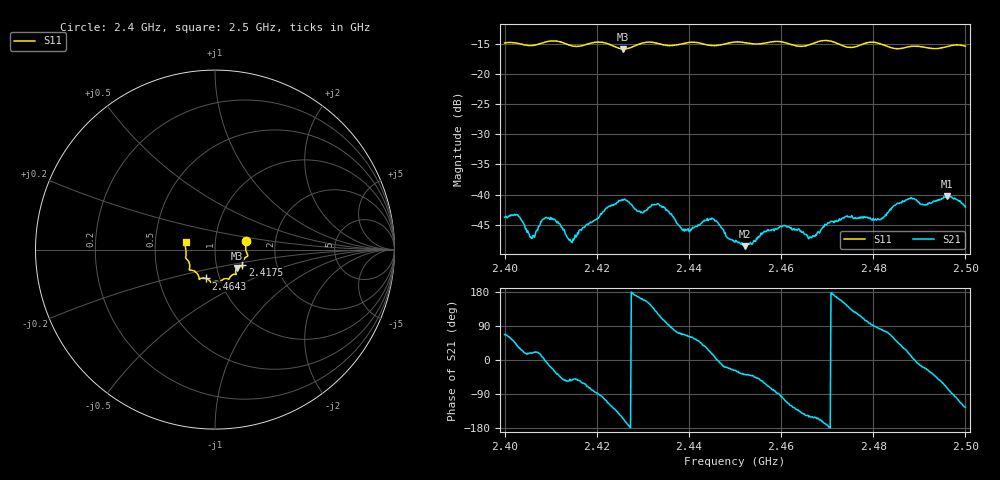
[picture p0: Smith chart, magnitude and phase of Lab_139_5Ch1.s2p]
# Hz S RI R 50
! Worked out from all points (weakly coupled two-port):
!   601 points, 2.4 GHz to 2.5 GHz, reference 50 ohm
!   highest |S21| = -40.28 dB at 2.496 GHz (marker M1); lowest = -48.5 dB at 2.4522 GHz (marker M2)
!   lowest |S11| = -15.9 dB at 2.4257 GHz (marker M3), VSWR 1.38, Z = 62.5 - j13.2 ohm
!   |S11| at or under -10 dB: start of sweep to end of sweep
!   S12 and S22 are empty: the file has one direction only
!   S11 on the Smith chart (normalised r, x): 2.4 GHz: 1.41, +0.14; 2.4175 GHz: 1.34, -0.23; 2.4643 GHz: 0.86, -0.29; 2.5 GHz: 0.72, +0.06
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2.4e9  0.1732 0.0487  0.00253 0.00598  0 0  0 0
2.402833e9  0.1752 0.0356  0.00552 0.00398  0 0  0 0
2.406e9  0.1711 0.00155  0.00414 0.00139  0 0  0 0
2.409e9  0.1813 -0.0292  0.00645 -0.000524  0 0  0 0
2.414167e9  0.1652 -0.0481  0.00271 -0.00329  0 0  0 0
2.416667e9  0.153 -0.0742  0.0026 -0.00434  0 0  0 0
2.4175e9  0.152 -0.0836  0.00247 -0.0049  0 0  0 0
2.425667e9  0.1228 -0.1026  -0.0081 -0.00388  0 0  0 0
2.429667e9  0.1165 -0.1351  -0.00679 0.00232  0 0  0 0
2.433333e9  0.1129 -0.1371  -0.00425 0.00723  0 0  0 0
2.438833e9  0.0804 -0.1587  0.00199 0.00477  0 0  0 0
2.445e9  0.0556 -0.1618  0.00615 0.00172  0 0  0 0
2.45e9  0.0286 -0.1808  0.0036 -0.00183  0 0  0 0
2.452167e9  0.0218 -0.1795  0.00292 -0.00234  0 0  0 0
2.460333e9  -0.0248 -0.1814  -0.000935 -0.00541  0 0  0 0
2.464333e9  -0.0498 -0.1608  -0.00374 -0.0033  0 0  0 0
2.466667e9  -0.0761 -0.1593  -0.00382 -0.0022  0 0  0 0
2.473833e9  -0.0963 -0.138  -0.00558 0.00337  0 0  0 0
2.483333e9  -0.1404 -0.09  0.00244 0.00677  0 0  0 0
2.487833e9  -0.1596 -0.0514  0.0089 0.00257  0 0  0 0
2.496e9  -0.1663 0.0199  0.00279 -0.00928  0 0  0 0
2.5e9  -0.1635 0.0425  -0.0045 -0.00645  0 0  0 0
